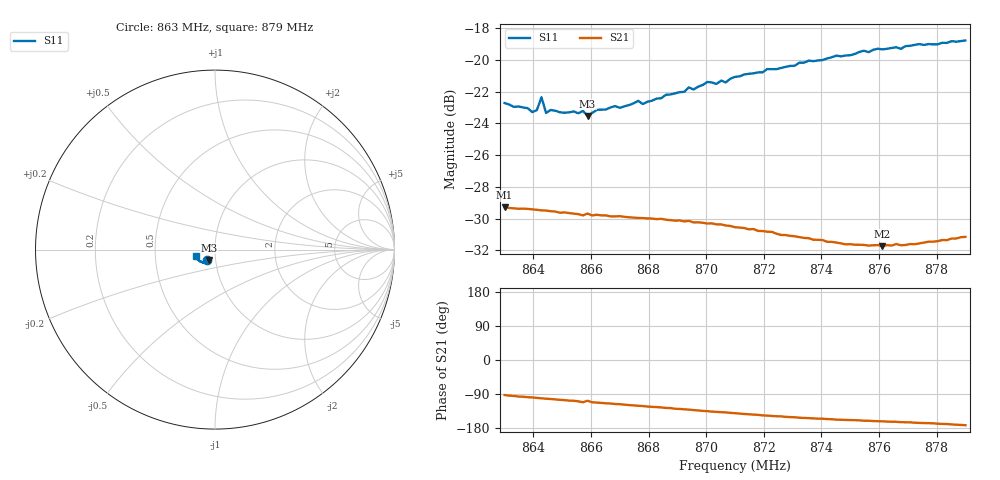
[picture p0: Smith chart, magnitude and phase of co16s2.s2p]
# HZ S RI R 50
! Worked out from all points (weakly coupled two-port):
!   101 points, 863 MHz to 879 MHz, reference 50 ohm
!   highest |S21| = -29.28 dB at 863 MHz (marker M1); lowest = -31.7 dB at 876.12 MHz (marker M2)
!   lowest |S11| = -23.5 dB at 865.88 MHz (marker M3), VSWR 1.14, Z = 46.4 - j5.35 ohm
!   |S11| at or under -10 dB: start of sweep to end of sweep
!   S12 and S22 are empty: the file has one direction only
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8.63e8  -0.046 -0.0567  -0.00147 -0.0343  0 0  0 0
8.6396e8  -0.0418 -0.0542  -0.00522 -0.0334  0 0  0 0
8.6412e8  -0.0413 -0.0558  -0.00581 -0.0332  0 0  0 0
8.6428e8  -0.0509 -0.0567  -0.0065 -0.0329  0 0  0 0
8.6444e8  -0.0402 -0.0549  -0.00704 -0.0328  0 0  0 0
8.646e8  -0.0405 -0.0565  -0.00746 -0.0325  0 0  0 0
8.6556e8  -0.0383 -0.056  -0.0107 -0.0309  0 0  0 0
8.6572e8  -0.0377 -0.0579  -0.0119 -0.0301  0 0  0 0
8.6588e8  -0.0338 -0.0573  -0.00985 -0.0313  0 0  0 0
8.662e8  -0.0369 -0.059  -0.0124 -0.0301  0 0  0 0
8.678e8  -0.0367 -0.0626  -0.0166 -0.0271  0 0  0 0
8.6844e8  -0.0383 -0.0653  -0.0182 -0.0258  0 0  0 0
8.6924e8  -0.0408 -0.068  -0.02 -0.0237  0 0  0 0
8.694e8  -0.0432 -0.0696  -0.0204 -0.0235  0 0  0 0
8.6956e8  -0.0426 -0.0684  -0.0206 -0.0228  0 0  0 0
8.7004e8  -0.0454 -0.0721  -0.0216 -0.0216  0 0  0 0
8.7068e8  -0.0468 -0.0708  -0.0225 -0.02  0 0  0 0
8.71e8  -0.0508 -0.0723  -0.0229 -0.019  0 0  0 0
8.7372e8  -0.0684 -0.0715  -0.0244 -0.0118  0 0  0 0
8.7612e8  -0.0884 -0.0618  -0.0246 -0.00805  0 0  0 0
8.7644e8  -0.091 -0.0598  -0.0249 -0.00762  0 0  0 0
8.79e8  -0.1084 -0.0383  -0.0275 -0.00382  0 0  0 0
